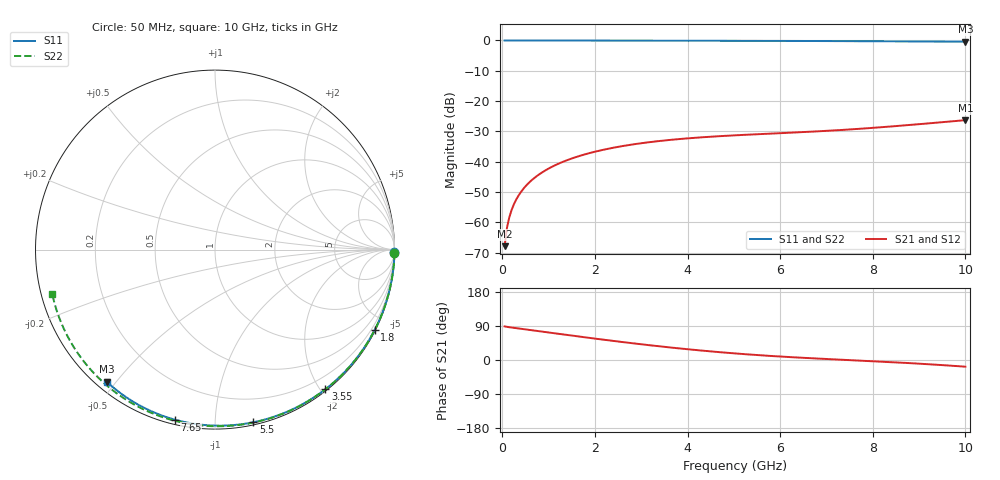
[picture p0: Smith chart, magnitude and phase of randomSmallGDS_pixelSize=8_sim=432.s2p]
! freq	dB(S11)	phase(S11)	dB(S12)	phase(S12)
!  dB(S21)	phase(S21)	dB(S22)	phase(S22)
!S-par simulation data
#  GHz  S  DB  R 50
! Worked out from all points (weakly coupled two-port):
!   200 points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, 50 MHz to 10 GHz, reference 50 ohm
!   highest |S21| = -26.29 dB at 10 GHz (marker M1); lowest = -67.9 dB at 50 MHz (marker M2)
!   lowest |S11| = -0.4 dB at 10 GHz (marker M3), VSWR 40.15, Z = 1.52 - j23.6 ohm
!   |S11| at or under -10 dB: nowhere
!   |S22| runs from -0.5 to 0.0 dB; largest |S21 - S12| = 0
!   S11 on the Smith chart (normalised r, x): 50 MHz: open; 1.8 GHz: 0.04, -4.19; 3.55 GHz: 0.02, -2.06; 5.5 GHz: 0.02, -1.25; 7.65 GHz: 0.02, -0.79; 10 GHz: 0.03, -0.47
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0.05  -0.00 -0.8  -67.85 88.7  -67.85 88.7  -0.00 -1.0
0.1  -0.00 -1.5  -61.88 87.5  -61.88 87.5  -0.00 -1.9
0.15  -0.00 -2.3  -58.41 86.5  -58.41 86.5  -0.00 -2.9
0.2  -0.00 -3.0  -55.96 85.6  -55.96 85.6  -0.00 -3.9
0.35  -0.00 -5.3  -51.18 83.2  -51.18 83.2  -0.01 -6.8
0.5  -0.01 -7.6  -48.13 80.8  -48.13 80.8  -0.01 -9.7
0.7  -0.01 -10.6  -45.26 77.6  -45.26 77.6  -0.02 -13.5
1  -0.02 -15.0  -42.25 72.6  -42.25 72.6  -0.02 -19.3
1.35  -0.03 -20.2  -39.78 66.9  -39.78 66.9  -0.03 -25.9
1.75  -0.03 -26.1  -37.72 60.4  -37.72 60.4  -0.04 -33.4
1.8  -0.03 -26.8  -37.50 59.6  -37.50 59.6  -0.04 -34.3
2.6  -0.05 -38.4  -34.83 47.3  -34.83 47.3  -0.06 -48.9
3.4  -0.07 -49.6  -33.15 36.0  -33.15 36.0  -0.08 -63.1
3.55  -0.07 -51.7  -32.91 34.0  -32.91 34.0  -0.09 -65.7
4.3  -0.09 -61.9  -31.95 24.9  -31.95 24.9  -0.11 -78.3
5.05  -0.11 -71.7  -31.27 17.1  -31.27 17.1  -0.14 -90.5
5.5  -0.13 -77.4  -30.93 13.1  -30.93 13.1  -0.16 -97.6
6.7  -0.18 -92.2  -30.07 4.5  -30.07 4.5  -0.23 -116.0
7.65  -0.23 -103.3  -29.21 -1.1  -29.21 -1.1  -0.29 -130.1
8.35  -0.28 -111.3  -28.43 -5.2  -28.43 -5.2  -0.36 -140.3
9.2  -0.35 -120.7  -27.35 -11.1  -27.35 -11.1  -0.44 -152.8
10  -0.43 -129.4  -26.29 -17.6  -26.29 -17.6  -0.54 -164.9
